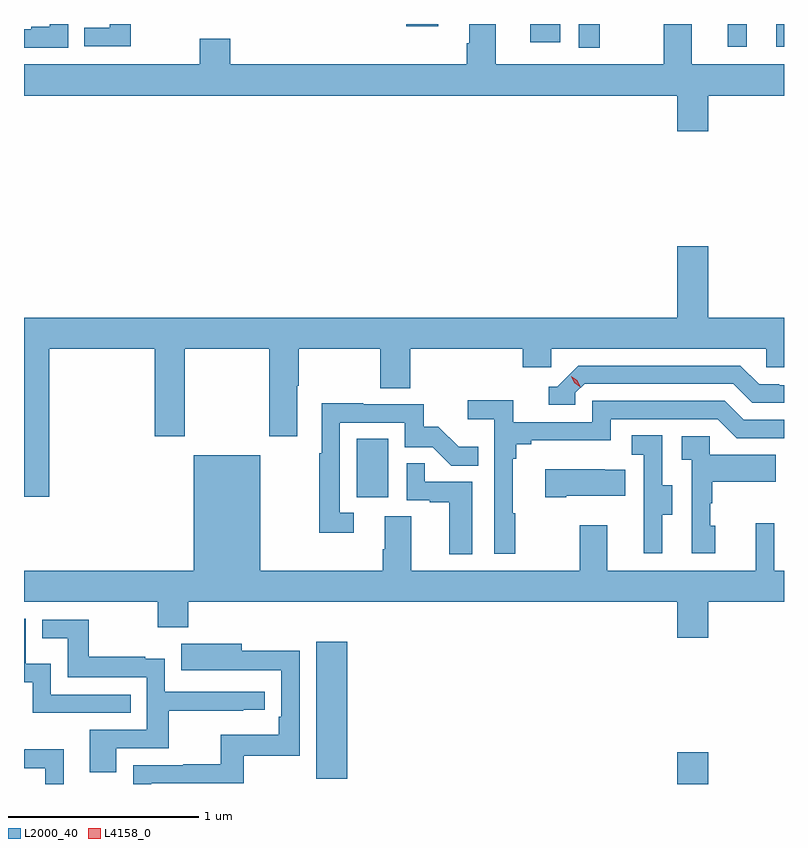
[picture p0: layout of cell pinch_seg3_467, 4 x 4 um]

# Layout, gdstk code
import gdstk
lib = gdstk.Library(unit=1e-6, precision=1e-09)
def R(c, l, rs):  # rectangles x0, y0, x1, y1
    for r in rs: c.add(gdstk.rectangle(r[:2], r[2:], *l))
def P(c, l, *ps):  # polygons
    for p in ps: c.add(gdstk.Polygon(p, *l))
L2000_40 = (2000, 40)
L4158_0 = (4158, 0)

pinch_seg3_467 = lib.new_cell('pinch_seg3_467')
R(pinch_seg3_467, L2000_40, [(908.264,677.313,908.428,677.479), (906.365,677.34,906.526,678.061), (906.578,678.822,906.742,679.129), (907.746,681.189,907.855,681.313), (908.531,681.192,908.629,681.313), (908.784,681.192,908.826,681.313), (907.49,681.216,907.648,681.313), (906.837,681.3,907.006,681.313), (906.587,681.312,906.748,681.313)])
P(pinch_seg3_467, L2000_40, [(905.058,681.313),(904.961,681.313),(904.961,681.298),(904.865,681.298),(904.865,681.285),(904.826,681.285),(904.826,681.189),(905.058,681.189)],
  [(905.389,681.313),(905.278,681.313),(905.278,681.292),(905.143,681.292),(905.143,681.195),(905.389,681.195)],
  [(908.428,680.936),(908.826,680.936),(908.826,681.1),(908.341,681.1),(908.341,681.313),(908.194,681.313),(908.194,681.1),(907.309,681.1),(907.309,681.313),(907.169,681.313),(907.169,681.212),(907.157,681.212),(907.157,681.1),(905.912,681.1),(905.912,681.235),(905.752,681.235),(905.752,681.1),(904.826,681.1),(904.826,680.936),(908.264,680.936),(908.264,680.748),(908.428,680.748)],
  [(908.733,679.506),(908.826,679.506),(908.826,679.768),(908.428,679.768),(908.428,680.143),(908.264,680.143),(908.264,679.768),(904.826,679.768),(904.826,678.825),(904.958,678.825),(904.958,679.604),(905.513,679.604),(905.513,679.143),(905.673,679.143),(905.673,679.604),(906.118,679.604),(906.118,679.143),(906.265,679.143),(906.265,679.408),(906.273,679.408),(906.273,679.604),(906.7,679.604),(906.7,679.396),(906.86,679.396),(906.86,679.604),(907.451,679.604),(907.451,679.506),(907.602,679.506),(907.602,679.604),(908.733,679.604)],
  [(907.728,679.371),(907.776,679.419),(908.559,679.419),(908.658,679.32),(908.826,679.32),(908.826,679.413),(908.802,679.413),(908.802,679.416),(908.695,679.416),(908.596,679.515),(907.743,679.515),(907.632,679.404),(907.589,679.404),(907.589,679.308),(907.728,679.308)],
  [(907.411,678.737),(907.399,678.737),(907.399,679.025),(907.418,679.025),(907.418,679.102),(907.495,679.102),(907.495,679.121),(907.914,679.121),(907.914,679.233),(908.478,679.233),(908.577,679.134),(908.826,679.134),(908.826,679.23),(908.614,679.23),(908.515,679.329),(907.818,679.329),(907.818,679.218),(907.4,679.218),(907.4,679.334),(907.161,679.334),(907.161,679.232),(907.302,679.232),(907.302,678.525),(907.411,678.525)],
  [(906.562,678.741),(906.489,678.741),(906.489,679.215),(906.831,679.215),(906.831,679.086),(906.976,679.086),(907.074,678.988),(907.217,678.988),(907.217,679.087),(907.113,679.087),(907.006,679.194),(906.93,679.194),(906.93,679.311),(906.611,679.311),(906.611,679.316),(906.393,679.316),(906.393,679.055),(906.381,679.055),(906.381,678.636),(906.562,678.636)],
  [(908.185,678.73),(908.239,678.73),(908.239,678.885),(908.184,678.885),(908.184,679.148),(908.025,679.148),(908.025,679.045),(908.088,679.045),(908.088,678.741),(908.087,678.741),(908.087,678.528),(908.185,678.528)],
  [(908.464,678.672),(908.439,678.672),(908.439,678.791),(908.449,678.791),(908.449,678.905),(908.783,678.905),(908.783,679.045),(908.436,679.045),(908.436,679.143),(908.289,679.143),(908.289,679.019),(908.34,679.019),(908.34,678.528),(908.464,678.528)],
  [(908.428,678.272),(908.826,678.272),(908.826,678.436),(908.775,678.436),(908.775,678.685),(908.678,678.685),(908.678,678.436),(907.897,678.436),(907.897,678.676),(907.75,678.676),(907.75,678.436),(906.865,678.436),(906.865,678.722),(906.725,678.722),(906.725,678.548),(906.713,678.548),(906.713,678.436),(906.07,678.436),(906.07,679.042),(905.72,679.042),(905.72,678.436),(904.826,678.436),(904.826,678.272),(905.53,678.272),(905.53,678.137),(905.69,678.137),(905.69,678.272),(908.264,678.272),(908.264,678.084),(908.428,678.084)],
  [(907.186,678.903),(906.935,678.903),(906.935,679.001),(906.84,679.001),(906.84,678.807),(906.961,678.807),(906.961,678.795),(907.064,678.795),(907.064,678.521),(907.186,678.521)],
  [(907.681,678.83),(907.991,678.83),(907.991,678.967),(907.883,678.967),(907.883,678.97),(907.569,678.97),(907.569,678.823),(907.681,678.823)],
  [(905.387,677.784),(904.968,677.784),(904.968,677.947),(904.836,677.947),(904.836,678.183),(904.826,678.183),(904.826,677.849),(904.872,677.849),(904.872,677.688),(905.387,677.688)],
  [(905.311,677.502),(905.588,677.502),(905.588,677.698),(905.981,677.698),(905.981,677.703),(906.094,677.703),(906.094,677.799),(905.568,677.799),(905.568,677.971),(905.465,677.971),(905.465,677.983),(905.167,677.983),(905.167,678.177),(904.921,678.177),(904.921,678.08),(905.056,678.08),(905.056,677.874),(905.472,677.874),(905.472,677.598),(905.171,677.598),(905.171,677.374),(905.311,677.374)],
  [(905.496,677.316),(905.983,677.316),(905.983,677.463),(906.276,677.463),(906.276,678.014),(905.971,678.014),(905.971,678.052),(905.653,678.052),(905.653,677.912),(905.867,677.912),(905.867,677.913),(906.18,677.913),(906.18,677.668),(906.167,677.668),(906.167,677.572),(905.862,677.572),(905.862,677.417),(905.665,677.417),(905.665,677.412),(905.4,677.412),(905.4,677.313),(905.496,677.313)],
  [(905.035,677.495),(904.83,677.495),(904.83,677.493),(904.826,677.493),(904.826,677.397),(904.938,677.397),(904.938,677.313),(905.035,677.313)])
P(pinch_seg3_467, L4158_0, [(907.752,679.405),(907.722,679.425),(907.706,679.458),(907.706,679.458),(907.706,679.458),(907.737,679.438),(907.753,679.406),(907.753,679.405)])

lib.write_gds('pinch_seg3_467.gds')
